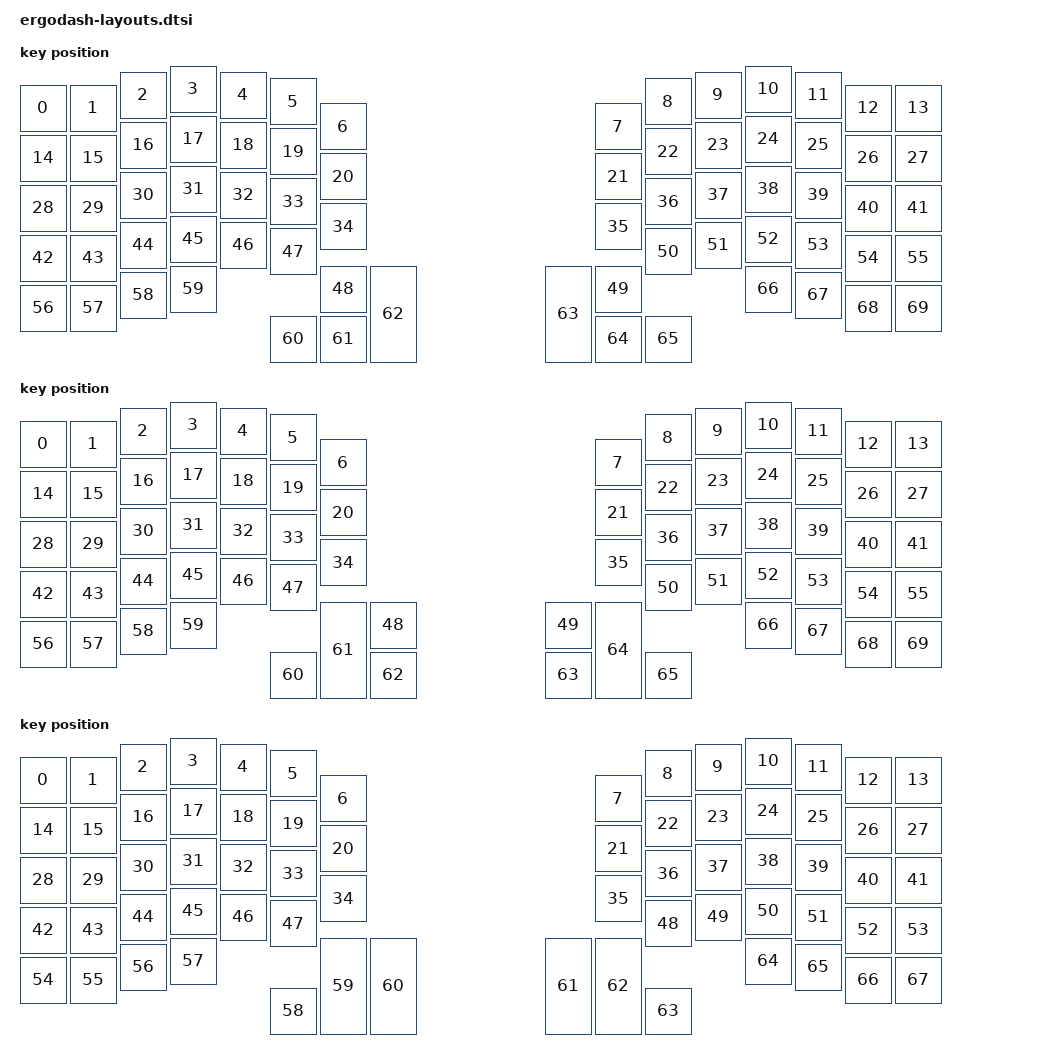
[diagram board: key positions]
/*
 * Copyright (c) 2020 The ZMK Contributors
 *
 * SPDX-License-Identifier: MIT
 */

#include <physical_layouts.dtsi>

/ {

    chosen {
        zmk,physical-layout = &ergodash_physical_layout_4key;
    };

    ergodash_physical_layout_4key: ergodash_physical_layout_4key {
        compatible = "zmk,physical-layout";
        display-name = "LAYOUT_4key";

        kscan = <&kscan0>;
        transform = <&default_transform>;

        keys//                      w   h    x    y     rot    rx    ry
            // row0
            = <&key_physical_attrs 100 100    0   38       0     0     0>
            , <&key_physical_attrs 100 100  100   38       0     0     0>
            , <&key_physical_attrs 100 100  200   12       0     0     0>
            , <&key_physical_attrs 100 100  300    0       0     0     0>
            , <&key_physical_attrs 100 100  400   12       0     0     0>
            , <&key_physical_attrs 100 100  500   25       0     0     0>
            , <&key_physical_attrs 100 100  600   75       0     0     0>
            , <&key_physical_attrs 100 100 1150   75       0     0     0>
            , <&key_physical_attrs 100 100 1250   25       0     0     0>
            , <&key_physical_attrs 100 100 1350   12       0     0     0>
            , <&key_physical_attrs 100 100 1450    0       0     0     0>
            , <&key_physical_attrs 100 100 1550   12       0     0     0>
            , <&key_physical_attrs 100 100 1650   38       0     0     0>
            , <&key_physical_attrs 100 100 1750   38       0     0     0>
            // row1
            , <&key_physical_attrs 100 100    0  138       0     0     0>
            , <&key_physical_attrs 100 100  100  138       0     0     0>
            , <&key_physical_attrs 100 100  200  112       0     0     0>
            , <&key_physical_attrs 100 100  300  100       0     0     0>
            , <&key_physical_attrs 100 100  400  112       0     0     0>
            , <&key_physical_attrs 100 100  500  125       0     0     0>
            , <&key_physical_attrs 100 100  600  175       0     0     0>
            , <&key_physical_attrs 100 100 1150  175       0     0     0>
            , <&key_physical_attrs 100 100 1250  125       0     0     0>
            , <&key_physical_attrs 100 100 1350  112       0     0     0>
            , <&key_physical_attrs 100 100 1450  100       0     0     0>
            , <&key_physical_attrs 100 100 1550  112       0     0     0>
            , <&key_physical_attrs 100 100 1650  138       0     0     0>
            , <&key_physical_attrs 100 100 1750  138       0     0     0>
            // row2
            , <&key_physical_attrs 100 100    0  238       0     0     0>
            , <&key_physical_attrs 100 100  100  238       0     0     0>
            , <&key_physical_attrs 100 100  200  212       0     0     0>
            , <&key_physical_attrs 100 100  300  200       0     0     0>
            , <&key_physical_attrs 100 100  400  212       0     0     0>
            , <&key_physical_attrs 100 100  500  225       0     0     0>
            , <&key_physical_attrs 100 100  600  275       0     0     0>
            , <&key_physical_attrs 100 100 1150  275       0     0     0>
            , <&key_physical_attrs 100 100 1250  225       0     0     0>
            , <&key_physical_attrs 100 100 1350  212       0     0     0>
            , <&key_physical_attrs 100 100 1450  200       0     0     0>
            , <&key_physical_attrs 100 100 1550  212       0     0     0>
            , <&key_physical_attrs 100 100 1650  238       0     0     0>
            , <&key_physical_attrs 100 100 1750  238       0     0     0>
            // row3
            , <&key_physical_attrs 100 100    0  338       0     0     0>
            , <&key_physical_attrs 100 100  100  338       0     0     0>
            , <&key_physical_attrs 100 100  200  312       0     0     0>
            , <&key_physical_attrs 100 100  300  300       0     0     0>
            , <&key_physical_attrs 100 100  400  312       0     0     0>
            , <&key_physical_attrs 100 100  500  325       0     0     0>
            , <&key_physical_attrs 100 100  600  400       0     0     0>
            , <&key_physical_attrs 100 100 1150  400       0     0     0>
            , <&key_physical_attrs 100 100 1250  325       0     0     0>
            , <&key_physical_attrs 100 100 1350  312       0     0     0>
            , <&key_physical_attrs 100 100 1450  300       0     0     0>
            , <&key_physical_attrs 100 100 1550  312       0     0     0>
            , <&key_physical_attrs 100 100 1650  338       0     0     0>
            , <&key_physical_attrs 100 100 1750  338       0     0     0>
            // row4
            , <&key_physical_attrs 100 100    0  438       0     0     0>
            , <&key_physical_attrs 100 100  100  438       0     0     0>
            , <&key_physical_attrs 100 100  200  412       0     0     0>
            , <&key_physical_attrs 100 100  300  400       0     0     0>
            , <&key_physical_attrs 100 100  500  500       0     0     0>
            , <&key_physical_attrs 100 100  600  500       0     0     0>
            , <&key_physical_attrs 100 200  700  400       0     0     0>
            , <&key_physical_attrs 100 200 1050  400       0     0     0>
            , <&key_physical_attrs 100 100 1150  500       0     0     0>
            , <&key_physical_attrs 100 100 1250  500       0     0     0>
            , <&key_physical_attrs 100 100 1450  400       0     0     0>
            , <&key_physical_attrs 100 100 1550  412       0     0     0>
            , <&key_physical_attrs 100 100 1650  438       0     0     0>
            , <&key_physical_attrs 100 100 1750  438       0     0     0>
            ;
    };

    ergodash_physical_layout_4key_2u_inner: ergodash_physical_layout_4key_2u_inner {
        compatible = "zmk,physical-layout";
        display-name = "LAYOUT_4key_2u_inner";

        kscan = <&kscan0>;
        transform = <&default_transform>;

        keys  //                     w   h    x    y     rot    rx    ry
            = <&key_physical_attrs 100 100    0   38       0     0     0>
            , <&key_physical_attrs 100 100  100   38       0     0     0>
            , <&key_physical_attrs 100 100  200   12       0     0     0>
            , <&key_physical_attrs 100 100  300    0       0     0     0>
            , <&key_physical_attrs 100 100  400   12       0     0     0>
            , <&key_physical_attrs 100 100  500   25       0     0     0>
            , <&key_physical_attrs 100 100  600   75       0     0     0>
            , <&key_physical_attrs 100 100 1150   75       0     0     0>
            , <&key_physical_attrs 100 100 1250   25       0     0     0>
            , <&key_physical_attrs 100 100 1350   12       0     0     0>
            , <&key_physical_attrs 100 100 1450    0       0     0     0>
            , <&key_physical_attrs 100 100 1550   12       0     0     0>
            , <&key_physical_attrs 100 100 1650   38       0     0     0>
            , <&key_physical_attrs 100 100 1750   38       0     0     0>
            , <&key_physical_attrs 100 100    0  138       0     0     0>
            , <&key_physical_attrs 100 100  100  138       0     0     0>
            , <&key_physical_attrs 100 100  200  112       0     0     0>
            , <&key_physical_attrs 100 100  300  100       0     0     0>
            , <&key_physical_attrs 100 100  400  112       0     0     0>
            , <&key_physical_attrs 100 100  500  125       0     0     0>
            , <&key_physical_attrs 100 100  600  175       0     0     0>
            , <&key_physical_attrs 100 100 1150  175       0     0     0>
            , <&key_physical_attrs 100 100 1250  125       0     0     0>
            , <&key_physical_attrs 100 100 1350  112       0     0     0>
            , <&key_physical_attrs 100 100 1450  100       0     0     0>
            , <&key_physical_attrs 100 100 1550  112       0     0     0>
            , <&key_physical_attrs 100 100 1650  138       0     0     0>
            , <&key_physical_attrs 100 100 1750  138       0     0     0>
            , <&key_physical_attrs 100 100    0  238       0     0     0>
            , <&key_physical_attrs 100 100  100  238       0     0     0>
            , <&key_physical_attrs 100 100  200  212       0     0     0>
            , <&key_physical_attrs 100 100  300  200       0     0     0>
            , <&key_physical_attrs 100 100  400  212       0     0     0>
            , <&key_physical_attrs 100 100  500  225       0     0     0>
            , <&key_physical_attrs 100 100  600  275       0     0     0>
            , <&key_physical_attrs 100 100 1150  275       0     0     0>
            , <&key_physical_attrs 100 100 1250  225       0     0     0>
            , <&key_physical_attrs 100 100 1350  212       0     0     0>
            , <&key_physical_attrs 100 100 1450  200       0     0     0>
            , <&key_physical_attrs 100 100 1550  212       0     0     0>
            , <&key_physical_attrs 100 100 1650  238       0     0     0>
            , <&key_physical_attrs 100 100 1750  238       0     0     0>
            , <&key_physical_attrs 100 100    0  338       0     0     0>
            , <&key_physical_attrs 100 100  100  338       0     0     0>
            , <&key_physical_attrs 100 100  200  312       0     0     0>
            , <&key_physical_attrs 100 100  300  300       0     0     0>
            , <&key_physical_attrs 100 100  400  312       0     0     0>
            , <&key_physical_attrs 100 100  500  325       0     0     0>
            , <&key_physical_attrs 100 100  700  400       0     0     0>
            , <&key_physical_attrs 100 100 1050  400       0     0     0>
            , <&key_physical_attrs 100 100 1250  325       0     0     0>
            , <&key_physical_attrs 100 100 1350  312       0     0     0>
            , <&key_physical_attrs 100 100 1450  300       0     0     0>
            , <&key_physical_attrs 100 100 1550  312       0     0     0>
            , <&key_physical_attrs 100 100 1650  338       0     0     0>
            , <&key_physical_attrs 100 100 1750  338       0     0     0>
            , <&key_physical_attrs 100 100    0  438       0     0     0>
            , <&key_physical_attrs 100 100  100  438       0     0     0>
            , <&key_physical_attrs 100 100  200  412       0     0     0>
            , <&key_physical_attrs 100 100  300  400       0     0     0>
            , <&key_physical_attrs 100 100  500  500       0     0     0>
            , <&key_physical_attrs 100 200  600  400       0     0     0>
            , <&key_physical_attrs 100 100  700  500       0     0     0>
            , <&key_physical_attrs 100 100 1050  500       0     0     0>
            , <&key_physical_attrs 100 200 1150  400       0     0     0>
            , <&key_physical_attrs 100 100 1250  500       0     0     0>
            , <&key_physical_attrs 100 100 1450  400       0     0     0>
            , <&key_physical_attrs 100 100 1550  412       0     0     0>
            , <&key_physical_attrs 100 100 1650  438       0     0     0>
            , <&key_physical_attrs 100 100 1750  438       0     0     0>
            ;
    };

    ergodash_physical_layout_3key_2us: ergodash_physical_layout_3key_2us {
        compatible = "zmk,physical-layout";
        display-name = "LAYOUT_3key_2us";

        kscan = <&kscan0>;
        transform = <&default_transform_3key_alt>;

        keys  //                     w   h    x    y     rot    rx    ry
            // row0
            = <&key_physical_attrs 100 100    0   38       0     0     0>
            , <&key_physical_attrs 100 100  100   38       0     0     0>
            , <&key_physical_attrs 100 100  200   12       0     0     0>
            , <&key_physical_attrs 100 100  300    0       0     0     0>
            , <&key_physical_attrs 100 100  400   12       0     0     0>
            , <&key_physical_attrs 100 100  500   25       0     0     0>
            , <&key_physical_attrs 100 100  600   75       0     0     0>
            , <&key_physical_attrs 100 100 1150   75       0     0     0>
            , <&key_physical_attrs 100 100 1250   25       0     0     0>
            , <&key_physical_attrs 100 100 1350   12       0     0     0>
            , <&key_physical_attrs 100 100 1450    0       0     0     0>
            , <&key_physical_attrs 100 100 1550   12       0     0     0>
            , <&key_physical_attrs 100 100 1650   38       0     0     0>
            , <&key_physical_attrs 100 100 1750   38       0     0     0>
            // row1
            , <&key_physical_attrs 100 100    0  138       0     0     0>
            , <&key_physical_attrs 100 100  100  138       0     0     0>
            , <&key_physical_attrs 100 100  200  112       0     0     0>
            , <&key_physical_attrs 100 100  300  100       0     0     0>
            , <&key_physical_attrs 100 100  400  112       0     0     0>
            , <&key_physical_attrs 100 100  500  125       0     0     0>
            , <&key_physical_attrs 100 100  600  175       0     0     0>
            , <&key_physical_attrs 100 100 1150  175       0     0     0>
            , <&key_physical_attrs 100 100 1250  125       0     0     0>
            , <&key_physical_attrs 100 100 1350  112       0     0     0>
            , <&key_physical_attrs 100 100 1450  100       0     0     0>
            , <&key_physical_attrs 100 100 1550  112       0     0     0>
            , <&key_physical_attrs 100 100 1650  138       0     0     0>
            , <&key_physical_attrs 100 100 1750  138       0     0     0>
            // row2
            , <&key_physical_attrs 100 100    0  238       0     0     0>
            , <&key_physical_attrs 100 100  100  238       0     0     0>
            , <&key_physical_attrs 100 100  200  212       0     0     0>
            , <&key_physical_attrs 100 100  300  200       0     0     0>
            , <&key_physical_attrs 100 100  400  212       0     0     0>
            , <&key_physical_attrs 100 100  500  225       0     0     0>
            , <&key_physical_attrs 100 100  600  275       0     0     0>
            , <&key_physical_attrs 100 100 1150  275       0     0     0>
            , <&key_physical_attrs 100 100 1250  225       0     0     0>
            , <&key_physical_attrs 100 100 1350  212       0     0     0>
            , <&key_physical_attrs 100 100 1450  200       0     0     0>
            , <&key_physical_attrs 100 100 1550  212       0     0     0>
            , <&key_physical_attrs 100 100 1650  238       0     0     0>
            , <&key_physical_attrs 100 100 1750  238       0     0     0>
            // row3
            , <&key_physical_attrs 100 100    0  338       0     0     0>
            , <&key_physical_attrs 100 100  100  338       0     0     0>
            , <&key_physical_attrs 100 100  200  312       0     0     0>
            , <&key_physical_attrs 100 100  300  300       0     0     0>
            , <&key_physical_attrs 100 100  400  312       0     0     0>
            , <&key_physical_attrs 100 100  500  325       0     0     0>
            , <&key_physical_attrs 100 100 1250  325       0     0     0>
            , <&key_physical_attrs 100 100 1350  312       0     0     0>
            , <&key_physical_attrs 100 100 1450  300       0     0     0>
            , <&key_physical_attrs 100 100 1550  312       0     0     0>
            , <&key_physical_attrs 100 100 1650  338       0     0     0>
            , <&key_physical_attrs 100 100 1750  338       0     0     0>
            // row4
            , <&key_physical_attrs 100 100    0  438       0     0     0>
            , <&key_physical_attrs 100 100  100  438       0     0     0>
            , <&key_physical_attrs 100 100  200  412       0     0     0>
            , <&key_physical_attrs 100 100  300  400       0     0     0>
            , <&key_physical_attrs 100 100  500  500       0     0     0>
            , <&key_physical_attrs 100 200  600  400       0     0     0>
            , <&key_physical_attrs 100 200  700  400       0     0     0>
            , <&key_physical_attrs 100 200 1050  400       0     0     0>
            , <&key_physical_attrs 100 200 1150  400       0     0     0>
            , <&key_physical_attrs 100 100 1250  500       0     0     0>
            , <&key_physical_attrs 100 100 1450  400       0     0     0>
            , <&key_physical_attrs 100 100 1550  412       0     0     0>
            , <&key_physical_attrs 100 100 1650  438       0     0     0>
            , <&key_physical_attrs 100 100 1750  438       0     0     0>
            ;
    };

    ergodash_physical_layout_3key_1us: ergodash_physical_layout_3key_1us {
        compatible = "zmk,physical-layout";
        display-name = "LAYOUT_3key_1us";

        kscan = <&kscan0>;
        transform = <&default_transform_3key>;

        keys  //                     w   h    x    y     rot    rx    ry
            = <&key_physical_attrs 100 100    0   38       0     0     0>
            , <&key_physical_attrs 100 100  100   38       0     0     0>
            , <&key_physical_attrs 100 100  200   12       0     0     0>
            , <&key_physical_attrs 100 100  300    0       0     0     0>
            , <&key_physical_attrs 100 100  400   12       0     0     0>
            , <&key_physical_attrs 100 100  500   25       0     0     0>
            , <&key_physical_attrs 100 100  600   75       0     0     0>
            , <&key_physical_attrs 100 100 1150   75       0     0     0>
            , <&key_physical_attrs 100 100 1250   25       0     0     0>
            , <&key_physical_attrs 100 100 1350   12       0     0     0>
            , <&key_physical_attrs 100 100 1450    0       0     0     0>
            , <&key_physical_attrs 100 100 1550   12       0     0     0>
            , <&key_physical_attrs 100 100 1650   38       0     0     0>
            , <&key_physical_attrs 100 100 1750   38       0     0     0>
            // row1
            , <&key_physical_attrs 100 100    0  138       0     0     0>
            , <&key_physical_attrs 100 100  100  138       0     0     0>
            , <&key_physical_attrs 100 100  200  112       0     0     0>
            , <&key_physical_attrs 100 100  300  100       0     0     0>
            , <&key_physical_attrs 100 100  400  112       0     0     0>
            , <&key_physical_attrs 100 100  500  125       0     0     0>
            , <&key_physical_attrs 100 100  600  175       0     0     0>
            , <&key_physical_attrs 100 100 1150  175       0     0     0>
            , <&key_physical_attrs 100 100 1250  125       0     0     0>
            , <&key_physical_attrs 100 100 1350  112       0     0     0>
            , <&key_physical_attrs 100 100 1450  100       0     0     0>
            , <&key_physical_attrs 100 100 1550  112       0     0     0>
            , <&key_physical_attrs 100 100 1650  138       0     0     0>
            , <&key_physical_attrs 100 100 1750  138       0     0     0>
            // row2
            , <&key_physical_attrs 100 100    0  238       0     0     0>
            , <&key_physical_attrs 100 100  100  238       0     0     0>
            , <&key_physical_attrs 100 100  200  212       0     0     0>
            , <&key_physical_attrs 100 100  300  200       0     0     0>
            , <&key_physical_attrs 100 100  400  212       0     0     0>
            , <&key_physical_attrs 100 100  500  225       0     0     0>
            , <&key_physical_attrs 100 100  600  275       0     0     0>
            , <&key_physical_attrs 100 100 1150  275       0     0     0>
            , <&key_physical_attrs 100 100 1250  225       0     0     0>
            , <&key_physical_attrs 100 100 1350  212       0     0     0>
            , <&key_physical_attrs 100 100 1450  200       0     0     0>
            , <&key_physical_attrs 100 100 1550  212       0     0     0>
            , <&key_physical_attrs 100 100 1650  238       0     0     0>
            , <&key_physical_attrs 100 100 1750  238       0     0     0>
            // row3
            , <&key_physical_attrs 100 100    0  338       0     0     0>
            , <&key_physical_attrs 100 100  100  338       0     0     0>
            , <&key_physical_attrs 100 100  200  312       0     0     0>
            , <&key_physical_attrs 100 100  300  300       0     0     0>
            , <&key_physical_attrs 100 100  400  312       0     0     0>
            , <&key_physical_attrs 100 100  500  325       0     0     0>
            , <&key_physical_attrs 100 100  600  400       0     0     0>
            , <&key_physical_attrs 100 100 1150  400       0     0     0>
            , <&key_physical_attrs 100 100 1250  325       0     0     0>
            , <&key_physical_attrs 100 100 1350  312       0     0     0>
            , <&key_physical_attrs 100 100 1450  300       0     0     0>
            , <&key_physical_attrs 100 100 1550  312       0     0     0>
            , <&key_physical_attrs 100 100 1650  338       0     0     0>
            , <&key_physical_attrs 100 100 1750  338       0     0     0>
            // row4
            , <&key_physical_attrs 100 100    0  438       0     0     0>
            , <&key_physical_attrs 100 100  100  438       0     0     0>
            , <&key_physical_attrs 100 100  200  412       0     0     0>
            , <&key_physical_attrs 100 100  300  400       0     0     0>
            , <&key_physical_attrs 100 100  500  500       0     0     0>
            , <&key_physical_attrs 100 100  600  500       0     0     0>
            , <&key_physical_attrs 100 100 1150  500       0     0     0>
            , <&key_physical_attrs 100 100 1250  500       0     0     0>
            , <&key_physical_attrs 100 100 1450  400       0     0     0>
            , <&key_physical_attrs 100 100 1550  412       0     0     0>
            , <&key_physical_attrs 100 100 1650  438       0     0     0>
            , <&key_physical_attrs 100 100 1750  438       0     0     0>
            ;
    };

    ergodash_physical_layout_2key: ergodash_physical_layout_2key {
        compatible = "zmk,physical-layout";
        display-name = "LAYOUT_2key";

        kscan = <&kscan0>;
        transform = <&default_transform_2key>;

        keys  //                     w   h    x    y     rot    rx    ry
            = <&key_physical_attrs 100 100    0   38       0     0     0>
            , <&key_physical_attrs 100 100  100   38       0     0     0>
            , <&key_physical_attrs 100 100  200   12       0     0     0>
            , <&key_physical_attrs 100 100  300    0       0     0     0>
            , <&key_physical_attrs 100 100  400   12       0     0     0>
            , <&key_physical_attrs 100 100  500   25       0     0     0>
            , <&key_physical_attrs 100 100  600   75       0     0     0>
            , <&key_physical_attrs 100 100 1150   75       0     0     0>
            , <&key_physical_attrs 100 100 1250   25       0     0     0>
            , <&key_physical_attrs 100 100 1350   12       0     0     0>
            , <&key_physical_attrs 100 100 1450    0       0     0     0>
            , <&key_physical_attrs 100 100 1550   12       0     0     0>
            , <&key_physical_attrs 100 100 1650   38       0     0     0>
            , <&key_physical_attrs 100 100 1750   38       0     0     0>
            , <&key_physical_attrs 100 100    0  138       0     0     0>
            , <&key_physical_attrs 100 100  100  138       0     0     0>
            , <&key_physical_attrs 100 100  200  112       0     0     0>
            , <&key_physical_attrs 100 100  300  100       0     0     0>
            , <&key_physical_attrs 100 100  400  112       0     0     0>
            , <&key_physical_attrs 100 100  500  125       0     0     0>
            , <&key_physical_attrs 100 100  600  175       0     0     0>
            , <&key_physical_attrs 100 100 1150  175       0     0     0>
            , <&key_physical_attrs 100 100 1250  125       0     0     0>
            , <&key_physical_attrs 100 100 1350  112       0     0     0>
            , <&key_physical_attrs 100 100 1450  100       0     0     0>
            , <&key_physical_attrs 100 100 1550  112       0     0     0>
            , <&key_physical_attrs 100 100 1650  138       0     0     0>
            , <&key_physical_attrs 100 100 1750  138       0     0     0>
            , <&key_physical_attrs 100 100    0  238       0     0     0>
            , <&key_physical_attrs 100 100  100  238       0     0     0>
            , <&key_physical_attrs 100 100  200  212       0     0     0>
            , <&key_physical_attrs 100 100  300  200       0     0     0>
            , <&key_physical_attrs 100 100  400  212       0     0     0>
            , <&key_physical_attrs 100 100  500  225       0     0     0>
            , <&key_physical_attrs 100 100  600  275       0     0     0>
            , <&key_physical_attrs 100 100 1150  275       0     0     0>
            , <&key_physical_attrs 100 100 1250  225       0     0     0>
            , <&key_physical_attrs 100 100 1350  212       0     0     0>
            , <&key_physical_attrs 100 100 1450  200       0     0     0>
            , <&key_physical_attrs 100 100 1550  212       0     0     0>
            , <&key_physical_attrs 100 100 1650  238       0     0     0>
            , <&key_physical_attrs 100 100 1750  238       0     0     0>
            , <&key_physical_attrs 100 100    0  338       0     0     0>
            , <&key_physical_attrs 100 100  100  338       0     0     0>
            , <&key_physical_attrs 100 100  200  312       0     0     0>
            , <&key_physical_attrs 100 100  300  300       0     0     0>
            , <&key_physical_attrs 100 100  400  312       0     0     0>
            , <&key_physical_attrs 100 100  500  325       0     0     0>
            , <&key_physical_attrs 100 100 1250  325       0     0     0>
            , <&key_physical_attrs 100 100 1350  312       0     0     0>
            , <&key_physical_attrs 100 100 1450  300       0     0     0>
            , <&key_physical_attrs 100 100 1550  312       0     0     0>
            , <&key_physical_attrs 100 100 1650  338       0     0     0>
            , <&key_physical_attrs 100 100 1750  338       0     0     0>
            , <&key_physical_attrs 100 100    0  438       0     0     0>
            , <&key_physical_attrs 100 100  100  438       0     0     0>
            , <&key_physical_attrs 100 100  200  412       0     0     0>
            , <&key_physical_attrs 100 100  300  400       0     0     0>
            , <&key_physical_attrs 100 100  500  500       0     0     0>
            , <&key_physical_attrs 100 200  600  400       0     0     0>
            , <&key_physical_attrs 100 200 1150  400       0     0     0>
            , <&key_physical_attrs 100 100 1250  500       0     0     0>
            , <&key_physical_attrs 100 100 1450  400       0     0     0>
            , <&key_physical_attrs 100 100 1550  412       0     0     0>
            , <&key_physical_attrs 100 100 1650  438       0     0     0>
            , <&key_physical_attrs 100 100 1750  438       0     0     0>
            ;
    };
};
